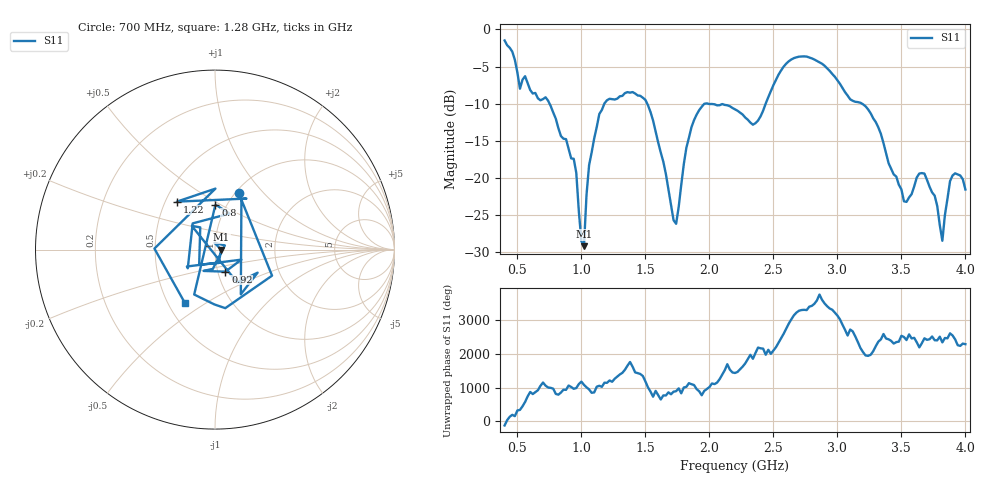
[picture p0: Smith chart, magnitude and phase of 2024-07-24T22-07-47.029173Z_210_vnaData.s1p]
!Created with skrf (http://scikit-rf.org).
# Hz S RI R 50.0
!freq ReS11 ImS11
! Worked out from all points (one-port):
!   181 points, 400 MHz to 4 GHz, reference 50 ohm
!   lowest |S11| = -29.2 dB at 1.02 GHz (marker M1), VSWR 1.07, Z = 53.6 - j0.0808 ohm
!   |S11| at or under -10 dB: 1.515 GHz to 1.961 GHz (446.8 MHz wide, 25.7 % of centre); 1.991 GHz to 2.439 GHz (448.6 MHz wide, 20.3 % of centre); 3.193 GHz to end of sweep (the widest 3 of 4)
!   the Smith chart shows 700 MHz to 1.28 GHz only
!   S11 on the Smith chart (normalised r, x): 700 MHz: 1.04, +0.74; 800 MHz: 0.89, +0.47; 920 MHz: 1.09, -0.27; 1.22 GHz: 0.57, +0.35; 1.28 GHz: 0.61, -0.41
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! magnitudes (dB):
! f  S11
! 400 MHz  -1.5
! 520 MHz  -8.0
! 700 MHz  -9.4
! 800 MHz  -12.0
! 860 MHz  -14.7
! 920 MHz  -17.3
! 960 MHz  -19.3
! 1 GHz  -28.5
! 1.02 GHz  -29.2
! 1.06 GHz  -18.3
! 1.22 GHz  -9.3
! 1.28 GHz  -9.3
! 1.3 GHz  -9.0
! 1.5 GHz  -9.5
! 1.72 GHz  -25.7
! 1.76 GHz  -23.9
! 1.82 GHz  -15.9
! 1.9 GHz  -11.5
! 2.2 GHz  -10.8
! 2.36 GHz  -12.6
! 2.66 GHz  -3.9
! 3.1 GHz  -9.4
! 3.26 GHz  -11.3
! 3.56 GHz  -22.6
! 3.68 GHz  -19.4
! 3.82 GHz  -28.4
! 3.9 GHz  -19.6
! 4 GHz  -21.5
